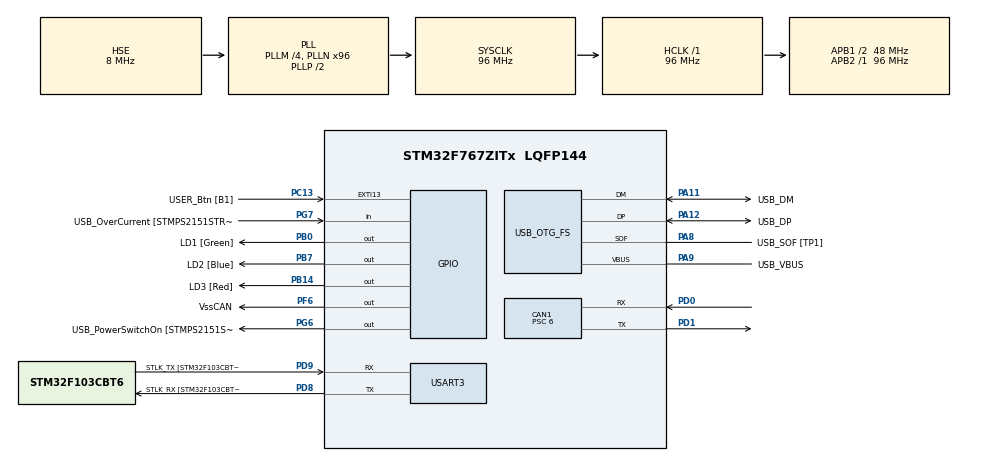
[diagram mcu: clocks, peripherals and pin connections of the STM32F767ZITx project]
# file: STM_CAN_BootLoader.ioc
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CAN1.BS1=CAN_BS1_4TQ
CAN1.BS2=CAN_BS2_3TQ
CAN1.CalculateTimeQuantum=125.0
CAN1.Prescaler=6
Mcu.Family=STM32F7
Mcu.Name=STM32F767ZITx
Mcu.Package=LQFP144
NVIC.CAN1_RX0_IRQn=true\:0\:0\:false\:false\:true\:true\:true
NVIC.CAN1_RX1_IRQn=true\:0\:0\:false\:false\:true\:true\:true
NVIC.CAN1_TX_IRQn=true\:0\:0\:false\:false\:true\:true\:true
NVIC.EXTI15_10_IRQn=true\:0\:0\:false\:false\:true\:true\:true
NVIC.PriorityGroup=NVIC_PRIORITYGROUP_4
PA1.GPIO_Label=RMII_REF_CLK [LAN8742A-CZ-TR_REFCLK0]
PA1.Signal=ETH_REF_CLK
PA10.GPIO_Label=USB_ID
PA10.Signal=USB_OTG_FS_ID
PA11.GPIO_Label=USB_DM
PA11.Mode=Device_Only
PA11.Signal=USB_OTG_FS_DM
PA12.GPIO_Label=USB_DP
PA12.Mode=Device_Only
PA12.Signal=USB_OTG_FS_DP
PA13.GPIO_Label=TMS
PA13.Mode=Serial_Wire
PA13.Signal=SYS_JTMS-SWDIO
PA14.GPIO_Label=TCK
PA14.Mode=Serial_Wire
PA14.Signal=SYS_JTCK-SWCLK
PA2.GPIO_Label=RMII_MDIO [LAN8742A-CZ-TR_MDIO]
PA2.Signal=ETH_MDIO
PA7.GPIO_Label=RMII_CRS_DV [LAN8742A-CZ-TR_CRS_DV]
PA7.Signal=ETH_CRS_DV
PA8.GPIO_Label=USB_SOF [TP1]
PA8.Mode=Activate_SOF_FS
PA8.Signal=USB_OTG_FS_SOF
PA9.GPIO_Label=USB_VBUS
PA9.Mode=Activate_VBUS
PA9.Signal=USB_OTG_FS_VBUS
PB0.GPIO_Label=LD1 [Green]
PB0.Signal=GPIO_Output
PB13.GPIO_Label=RMII_TXD1 [LAN8742A-CZ-TR_TXD1]
PB13.Signal=ETH_TXD1
PB14.GPIO_Label=LD3 [Red]
PB14.Signal=GPIO_Output
PB3.GPIO_Label=SWO
PB3.Signal=SYS_JTDO-SWO
PB7.GPIO_Label=LD2 [Blue]
PB7.Signal=GPIO_Output
PC1.GPIO_Label=RMII_MDC [LAN8742A-CZ-TR_MDC]
PC1.Signal=ETH_MDC
PC13.GPIO_Label=USER_Btn [B1]
PC13.Signal=GPXTI13
PC14/OSC32_IN.Mode=LSE-External-Oscillator
PC14/OSC32_IN.Signal=RCC_OSC32_IN
PC15/OSC32_OUT.Mode=LSE-External-Oscillator
PC15/OSC32_OUT.Signal=RCC_OSC32_OUT
PC4.GPIO_Label=RMII_RXD0 [LAN8742A-CZ-TR_RXD0]
PC4.Signal=ETH_RXD0
PC5.GPIO_Label=RMII_RXD1 [LAN8742A-CZ-TR_RXD1]
PC5.Signal=ETH_RXD1
PD0.GPIO_PuPd=GPIO_PULLUP
PD0.Mode=Master
PD0.Signal=CAN1_RX
PD1.Mode=Master
PD1.Signal=CAN1_TX
PD8.GPIO_Label=STLK_RX [STM32F103CBT6_PA3]
PD8.Mode=Asynchronous
PD8.Signal=USART3_TX
PD9.GPIO_Label=STLK_TX [STM32F103CBT6_PA2]
PD9.Mode=Asynchronous
PD9.Signal=USART3_RX
PF6.GPIO_Label=VssCAN
PF6.GPIO_PuPd=GPIO_PULLUP
PF6.PinState=GPIO_PIN_SET
PF6.Signal=GPIO_Output
PG11.GPIO_Label=RMII_TX_EN [LAN8742A-CZ-TR_TXEN]
PG11.Signal=ETH_TX_EN
PG13.GPIO_Label=RMII_TXD0 [LAN8742A-CZ-TR_TXD0]
PG13.Signal=ETH_TXD0
PG6.GPIO_Label=USB_PowerSwitchOn [STMPS2151STR_EN]
PG6.Signal=GPIO_Output
PG7.GPIO_Label=USB_OverCurrent [STMPS2151STR_FAULT]
PG7.Signal=GPIO_Input
PH0/OSC_IN.GPIO_Label=MCO [STM32F103CBT6_PA8]
PH0/OSC_IN.Mode=HSE-External-Clock-Source
PH0/OSC_IN.Signal=RCC_OSC_IN
PH1/OSC_OUT.Mode=HSE-External-Clock-Source
PH1/OSC_OUT.Signal=RCC_OSC_OUT
ProjectManager.HeapSize=0x200
ProjectManager.StackSize=0x400
ProjectManager.TargetToolchain=Makefile
RCC.48MHZClocksFreq_Value=24000000
RCC.AHBFreq_Value=96000000
RCC.APB1CLKDivider=RCC_HCLK_DIV2
RCC.APB1Freq_Value=48000000
RCC.APB1TimFreq_Value=96000000
RCC.APB2Freq_Value=96000000
RCC.APB2TimFreq_Value=96000000
RCC.CortexFreq_Value=96000000
RCC.HCLKFreq_Value=96000000
RCC.HSE_VALUE=8000000
RCC.HSI_VALUE=16000000
RCC.PLLM=4
RCC.PLLMUL=RCC_PLL_MUL9
RCC.PLLN=96
RCC.PLLQ=4
RCC.PRESCALERUSB=RCC_USBCLKSOURCE_PLL_DIV1_5
RCC.SYSCLKFreq_VALUE=96000000
RCC.SYSCLKSource=RCC_SYSCLKSOURCE_PLLCLK
RCC.SYSCLKSourceVirtual=RCC_SYSCLKSOURCE_PLLCLK
RCC.USBFreq_Value=48000000
RCC.VCOOutputFreq_Value=192000000
USART3.VirtualMode-Asynchronous=VM_ASYNC
USB_OTG_FS.VirtualMode=Device_Only
board=NUCLEO-F767ZI

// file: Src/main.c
/* USER CODE BEGIN Header */
/**
  ******************************************************************************
  * @file           : main.c
  * @brief          : Main program body
  ******************************************************************************
  * @attention
  *
  * <h2><center>&copy; Copyright (c) 2021 STMicroelectronics.
  * All rights reserved.</center></h2>
  *
  * This software component is licensed by ST under BSD 3-Clause license,
  * the "License"; You may not use this file except in compliance with the
  * License. You may obtain a copy of the License at:
  *                        opensource.org/licenses/BSD-3-Clause
  *
  ******************************************************************************
  */
/* USER CODE END Header */

#include "main.h"
#include "can.h"
#include "usart.h"
#include "usb_otg.h"
#include "gpio.h"

/* USER CODE BEGIN Includes */
#include "canopen_link.h"
#include "loader.h"
#include "systemTimer.h"
/* USER CODE END Includes */

/* USER CODE BEGIN PV */
/***** General Bootloader variables *****/
volatile bool go_to_app_trigger = false;
volatile bool catched = false;
volatile sysTick_timer_param_t sysTick = {0,0,1};

/***** Main function variables *****/
static int32_t clk = 0;
static uint32_t ticks_per200_ms = 0;
static int32_t go_to_app_timer = 0;

/* USER CODE END PV */

void SystemClock_Config(void);

int main(void)
{

  /* MCU Configuration--------------------------------------------------------*/

  /* Reset of all peripherals, Initializes the Flash interface and the Systick. */
  HAL_Init();

  /* Configure the system clock */
  SystemClock_Config();

  /* Initialize all configured peripherals */
  MX_GPIO_Init();
  MX_USART3_UART_Init();
  MX_USB_OTG_FS_PCD_Init();
  MX_CAN1_Init();
  /* USER CODE BEGIN 2 */
  canopen_link_init();
  /* USER CODE END 2 */

  /* Infinite loop */
  /* USER CODE BEGIN WHILE */

  go_to_app_timer = timebase_mark(&clk);
  ticks_per200_ms = sysTick.ticks_per_ms * 200 + go_to_app_timer;

  while (1)
  {
    /* USER CODE END WHILE */

    /* USER CODE BEGIN 3 */

    if (!catched)
    {
      /* CANopen process */
      CO_CANinterrupt(CO->CANmodule[0]);

      timebase_mark(&clk);
      go_to_app_timer += timebase_mark(&clk);

      if (go_to_app_timer > ticks_per200_ms)
        go_to_app_trigger = true;
      else if (CO->NMT->operatingStatePrev != CO->NMT->operatingState)
      {
        CO->NMT->operatingState = CO_NMT_INITIALIZING;
        catched = true;
      }
    }
    else
    {
      canopen_link_poll();
    }
    //button condition
    if (go_to_app_trigger)
    {
      if (OD_verifyApplicationSoftware[0] != 0)// && 0)
      {
        go_to_app();
      }
      else
        catched = true;
    }
  }
  /* USER CODE END 3 */
}

void SystemClock_Config(void)
{
  RCC_OscInitTypeDef RCC_OscInitStruct = {0};
  RCC_ClkInitTypeDef RCC_ClkInitStruct = {0};
  RCC_PeriphCLKInitTypeDef PeriphClkInitStruct = {0};

  /** Configure LSE Drive Capability
  */
  HAL_PWR_EnableBkUpAccess();
  /** Configure the main internal regulator output voltage
  */
  __HAL_RCC_PWR_CLK_ENABLE();
  __HAL_PWR_VOLTAGESCALING_CONFIG(PWR_REGULATOR_VOLTAGE_SCALE3);
  /** Initializes the CPU, AHB and APB busses clocks
  */
  RCC_OscInitStruct.OscillatorType = RCC_OSCILLATORTYPE_HSE;
  RCC_OscInitStruct.HSEState = RCC_HSE_BYPASS;
  RCC_OscInitStruct.PLL.PLLState = RCC_PLL_ON;
  RCC_OscInitStruct.PLL.PLLSource = RCC_PLLSOURCE_HSE;
  RCC_OscInitStruct.PLL.PLLM = 4;
  RCC_OscInitStruct.PLL.PLLN = 96;
  RCC_OscInitStruct.PLL.PLLP = RCC_PLLP_DIV2;
  RCC_OscInitStruct.PLL.PLLQ = 4;
  if (HAL_RCC_OscConfig(&RCC_OscInitStruct) != HAL_OK)
  {
    Error_Handler();
  }
  /** Activate the Over-Drive mode
  */
  if (HAL_PWREx_EnableOverDrive() != HAL_OK)
  {
    Error_Handler();
  }
  /** Initializes the CPU, AHB and APB busses clocks
  */
  RCC_ClkInitStruct.ClockType = RCC_CLOCKTYPE_HCLK|RCC_CLOCKTYPE_SYSCLK
                              |RCC_CLOCKTYPE_PCLK1|RCC_CLOCKTYPE_PCLK2;
  RCC_ClkInitStruct.SYSCLKSource = RCC_SYSCLKSOURCE_PLLCLK;
  RCC_ClkInitStruct.AHBCLKDivider = RCC_SYSCLK_DIV1;
  RCC_ClkInitStruct.APB1CLKDivider = RCC_HCLK_DIV2;
  RCC_ClkInitStruct.APB2CLKDivider = RCC_HCLK_DIV1;

  if (HAL_RCC_ClockConfig(&RCC_ClkInitStruct, FLASH_LATENCY_3) != HAL_OK)
  {
    Error_Handler();
  }
  PeriphClkInitStruct.PeriphClockSelection = RCC_PERIPHCLK_USART3|RCC_PERIPHCLK_CLK48;
  PeriphClkInitStruct.Usart3ClockSelection = RCC_USART3CLKSOURCE_PCLK1;
  PeriphClkInitStruct.Clk48ClockSelection = RCC_CLK48SOURCE_PLL;
  if (HAL_RCCEx_PeriphCLKConfig(&PeriphClkInitStruct) != HAL_OK)
  {
    Error_Handler();
  }
}

void Error_Handler(void)
{
}

/************************ (C) COPYRIGHT STMicroelectronics *****END OF FILE****/
